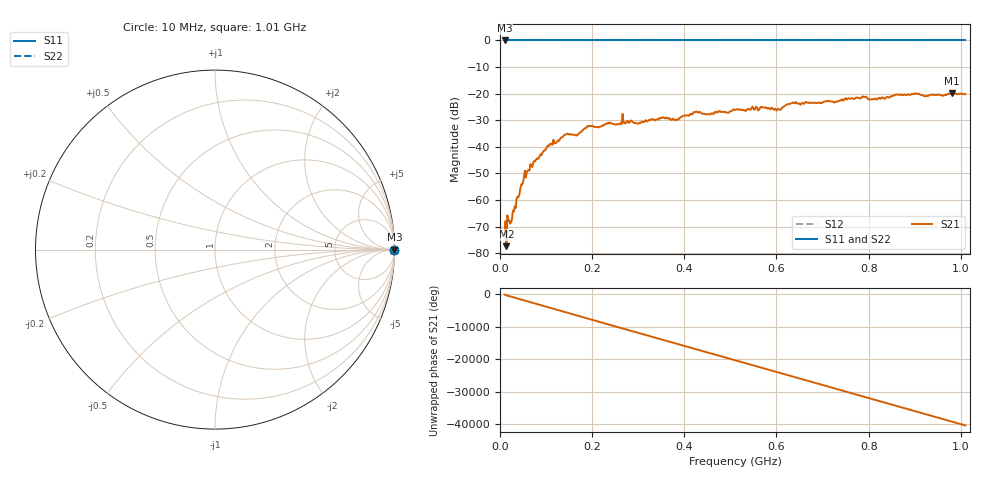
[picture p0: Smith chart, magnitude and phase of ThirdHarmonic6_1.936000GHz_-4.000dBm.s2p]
! 8/16/2025 11:19:30 PM
! C:\ANRITSUVNA\TEMP\TEMP.S2P
! CHANNEL.1
! TR.MEASUREMENT
! RAW.DATA
! RF.CORRECTION.OFF
! AVERAGING.OFF
! IF.BANDWIDTH: 5KHZ
! SWEEPTYPE:  FREQ.SWEEP(Linear)
! Reference Plane Port Info
! PORT:  PORT1  PORT2
! DISTANCE:  0  m  0  m
! TIME:  0  s  0  s
! PHASE.OFFSET:  0  deg.  0  deg.
! LOSS:  0  dB  0  dB
! REF.LOSS:  0  dB  0  dB
! REF.FREQ:  0  Hz  0  Hz
! Power Info
! POWER:  -20  dBm  -20  dBm
! EFF.POWER:  -20  dBm  -20  dBm
! SOURCE.ATTEN:  0  dB  0  dB
! TEST.ATTEN:  0  dB  0  dB
# GHZ S RI R 50.0
! FREQ.GHZ  S11RE  S11IM  S21RE  S21IM  S12RE  S12IM  S22RE  S22IM
!; PortSelection: Port_12
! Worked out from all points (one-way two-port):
!   501 points, 10 MHz to 1.01 GHz, reference 50 ohm
!   highest |S21| = -19.75 dB at 980 MHz (marker M1); lowest = -77.4 dB at 14 MHz (marker M2)
!   lowest |S11| = 0.0 dB at 10 MHz (marker M3)
!   |S11| at or under -10 dB: nowhere
!   |S22| runs from 0.0 to 0.0 dB; largest |S21 - S12| = 1.1
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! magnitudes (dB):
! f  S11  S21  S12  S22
! 10 MHz  0.0  -73.4  0.0  0.0
! 14 MHz  0.0  -77.4  0.0  0.0
! 26 MHz  0.0  -67.2  0.0  0.0
! 50 MHz  0.0  -53.4  0.0  0.0
! 70 MHz  0.0  -47.6  0.0  0.0
! 112 MHz  0.0  -39.1  0.0  0.0
! 142 MHz  0.0  -35.4  0.0  0.0
! 166 MHz  0.0  -35.8  0.0  0.0
! 178 MHz  0.0  -34.0  0.0  0.0
! 194 MHz  0.0  -32.1  0.0  0.0
! 344 MHz  0.0  -29.7  0.0  0.0
! 382 MHz  0.0  -29.8  0.0  0.0
! 424 MHz  0.0  -27.0  0.0  0.0
! 452 MHz  0.0  -27.7  0.0  0.0
! 510 MHz  0.0  -26.1  0.0  0.0
! 570 MHz  0.0  -25.1  0.0  0.0
! 604 MHz  0.0  -25.7  0.0  0.0
! 632 MHz  0.0  -23.7  0.0  0.0
! 678 MHz  0.0  -23.4  0.0  0.0
! 844 MHz  0.0  -21.4  0.0  0.0
! 980 MHz  0.0  -19.7  0.0  0.0
! 1.01 GHz  0.0  -20.2  0.0  0.0
